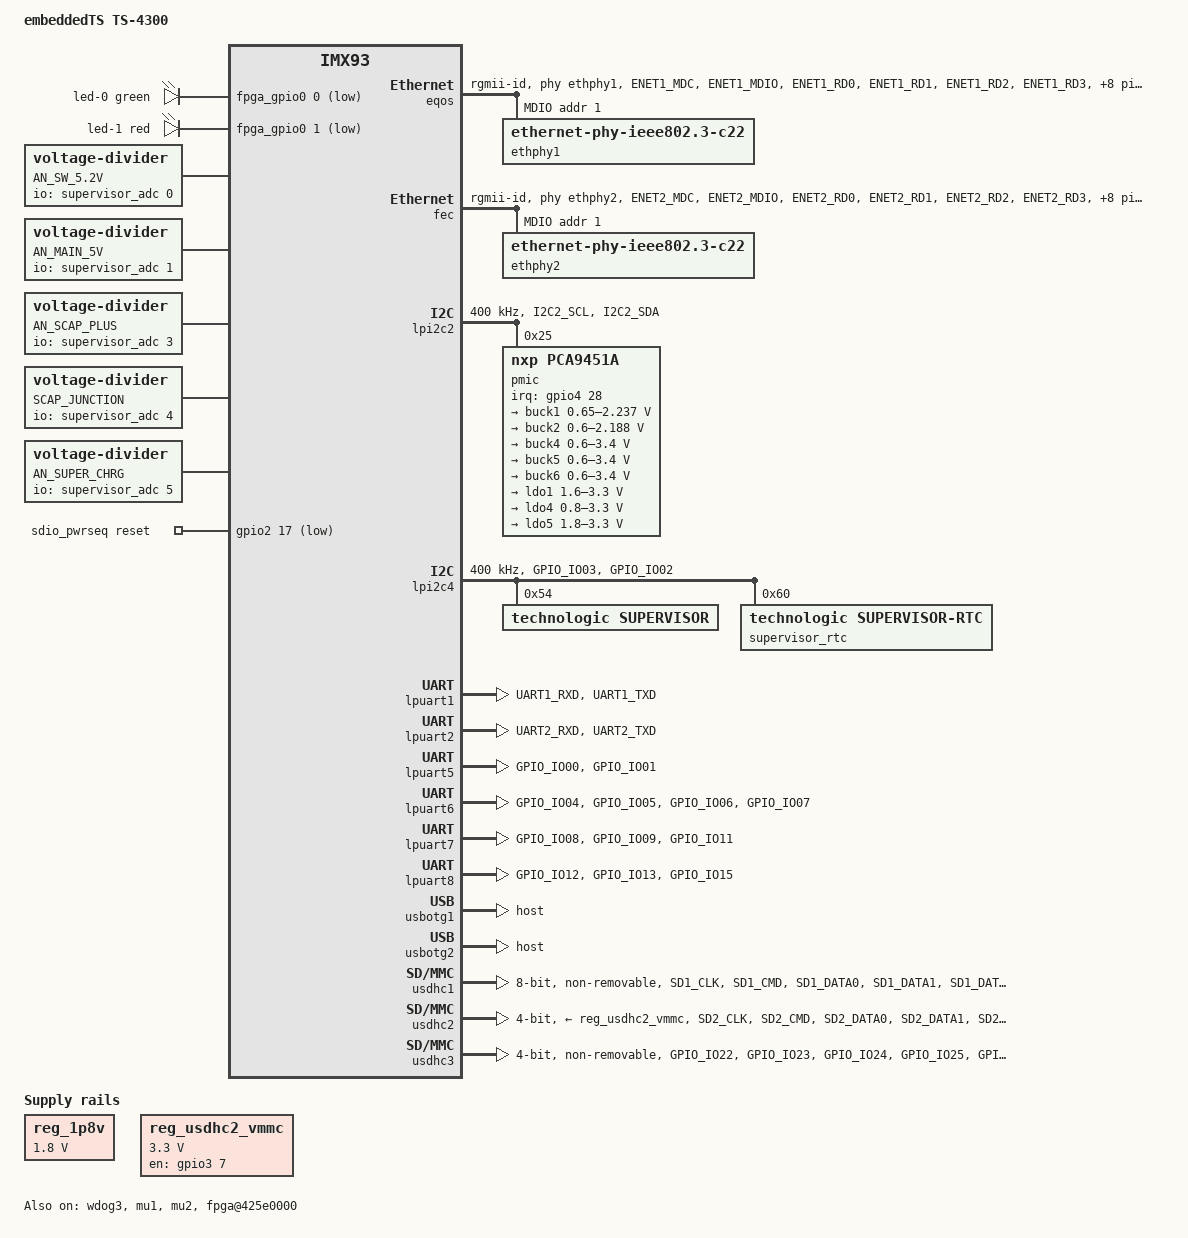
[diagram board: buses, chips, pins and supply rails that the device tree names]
// SPDX-License-Identifier: (GPL-2.0+ OR MIT)
/*
 * Copyright 2023-2024 Technologic Systems, Inc. (dba embeddedTS)
 */

#include <dt-bindings/leds/common.h>
#include "imx93.dtsi"

/ {
	model = "embeddedTS TS-4300";
	compatible = "technologic,ts4300", "fsl,imx93";

	chosen {
		bootargs = "console=ttyLP0,115200";
		stdout-path = &lpuart1;
	};

	aliases {
		gpio4 = &fpga_gpio0;
		gpio5 = &fpga_gpio1;
		gpio6 = &fpga_gpio2;
		gpio7 = &fpga_gpio3;
	};

	reserved-memory {
		#address-cells = <2>;
		#size-cells = <2>;
		ranges;

		linux,cma {
			compatible = "shared-dma-pool";
			reusable;
			alloc-ranges = <0 0x80000000 0 0x40000000>;
			size = <0 0x10000000>;
			linux,cma-default;
		};
	};

	leds {
		compatible = "gpio-leds";

		led-0 {
			color = <LED_COLOR_ID_GREEN>;
			function = LED_FUNCTION_INDICATOR;
			gpios = <&fpga_gpio0 0 GPIO_ACTIVE_LOW>;
			default-state = "on";
		};

		led-1 {
			color = <LED_COLOR_ID_RED>;
			function = LED_FUNCTION_INDICATOR;
			gpios = <&fpga_gpio0 1 GPIO_ACTIVE_LOW>;
			default-state = "off";
		};
	};

	reg_1p8v: regulator-1p8v {
		compatible = "regulator-fixed";
		regulator-name = "VDD_1V8";
		regulator-min-microvolt = <1800000>;
		regulator-max-microvolt = <1800000>;
		regulator-boot-on;
		regulator-always-on;
	};

	reg_usdhc2_vmmc: regulator-usdhc2 {
		compatible = "regulator-fixed";
		pinctrl-names = "default";
		pinctrl-0 = <&pinctrl_reg_usdhc2_vmmc>;
		regulator-name = "VSD_3V3";
		regulator-min-microvolt = <3300000>;
		regulator-max-microvolt = <3300000>;
		gpio = <&gpio3 7 GPIO_ACTIVE_HIGH>;
		off-on-delay-us = <12000>;
		enable-active-high;
	};

	an_5p2va: an-5p2va {
		compatible = "voltage-divider";
		io-channels = <&supervisor_adc 0>;
		label = "AN_SW_5.2V";
		output-ohms = <75000>; /* R2: 75k */
		full-ohms = <150000>;  /* R1 (75k) + R2 (75k) */
		#io-channel-cells = <0>;
	};

	an_main_5v: an-main-5v {
		compatible = "voltage-divider";
		io-channels = <&supervisor_adc 1>;
		label = "AN_MAIN_5V";
		output-ohms = <100000>; /* R2: 100k */
		full-ohms = <200000>;  /* R1 (100k) + R2 (100k) */
		#io-channel-cells = <0>;
	};

	an_scap_plus: an-scap-plus {
		compatible = "voltage-divider";
		io-channels = <&supervisor_adc 3>;
		label = "AN_SCAP_PLUS";
		output-ohms = <100000>; /* R2: 100k */
		full-ohms = <200000>;  /* R1 (100k) + R2 (100k) */
		#io-channel-cells = <0>;
	};

	an_scap_junction: an-scap-junction {
		compatible = "voltage-divider";
		io-channels = <&supervisor_adc 4>;
		label = "SCAP_JUNCTION";
		output-ohms = <1>;  /* direct mV (<3.3V) after 12-bit scaling */
		full-ohms = <1>;
		#io-channel-cells = <0>;
	};

	an_vchrg: an-vchrg {
		compatible = "voltage-divider";
		io-channels = <&supervisor_adc 5>;
		label = "AN_SUPER_CHRG";
		output-ohms = <100000>; /* R2: 100k */
		full-ohms = <200000>;  /* R1 (100k) + R2 (100k) */
		#io-channel-cells = <0>;
	};

	sdio_pwrseq: sdio-pwrseq {
		compatible = "mmc-pwrseq-simple";
		pinctrl-names = "default";
		pinctrl-0 = <&pinctrl_wifi_pwr>;
		reset-gpios = <&gpio2 17 GPIO_ACTIVE_LOW>;
	};
};

&aips2 {
	fpga@425e0000 {
		#address-cells = <1>;
		#size-cells = <1>;
		compatible = "nxp,imx93-fspi", "nxp,imx8mm-fspi";
		reg = <0x425e0000 0x10000>, <0x28000000 0x10000000>;
		reg-names = "fspi_base", "fspi_mmap";
		interrupts = <GIC_SPI 55 IRQ_TYPE_LEVEL_HIGH>;
		clocks = <&clk IMX93_CLK_FLEXSPI1_GATE>,
		<&clk IMX93_CLK_FLEXSPI1_GATE>;
		clock-names = "fspi", "fspi_en";
		assigned-clocks = <&clk IMX93_CLK_FLEXSPI1>;
		assigned-clock-parents = <&clk IMX93_CLK_SYS_PLL_PFD1>;
		pinctrl-names = "default";
		pinctrl-0 = <&pinctrl_flexspi>;
		nxp,ahb-clk-rate = <66666666>;
		nxp,ahb-bus-only;
		nxp,fspi-individual-mode;
		ranges = <0 0x28000000 0x10000000>;

		status = "okay";

		fpga_gpio0: gpio@28000040 {
			compatible = "technologic,ts7820-gpio";
			reg = <0x40 0x40>;
			gpio-controller;
			#gpio-cells = <2>;
		};

		fpga_gpio1: gpio@28000080 {
			compatible = "technologic,ts7820-gpio";
			reg = <0x80 0x40>;
			gpio-controller;
			#gpio-cells = <2>;
		};

		fpga_gpio2: gpio@280000c0 {
			compatible = "technologic,ts7820-gpio";
			reg = <0xC0 0x40>;
			gpio-controller;
			#gpio-cells = <2>;
		};

		fpga_gpio3: gpio@28000100 {
			compatible = "technologic,ts7820-gpio";
			reg = <0x100 0x40>;
			gpio-controller;
			#gpio-cells = <2>;
		};
	};
};

&bbnsm_rtc {
	status = "disabled";
};

&eqos {
	pinctrl-names = "default";
	pinctrl-0 = <&pinctrl_eqos>;
	phy-mode = "rgmii-id";
	phy-handle = <&ethphy1>;
	status = "okay";

	mdio {
		compatible = "snps,dwmac-mdio";
		#address-cells = <1>;
		#size-cells = <0>;
		clock-frequency = <5000000>;

		ethphy1: ethernet-phy@1 {
			compatible = "ethernet-phy-ieee802.3-c22";
			reg = <1>;
			eee-broken-1000t;
		};
	};
};

&fec {
	pinctrl-names = "default";
	pinctrl-0 = <&pinctrl_fec>;
	phy-mode = "rgmii-id";
	phy-handle = <&ethphy2>;
	fsl,magic-packet;
	status = "okay";

	mdio {
		#address-cells = <1>;
		#size-cells = <0>;
		clock-frequency = <5000000>;

		ethphy2: ethernet-phy@2 {
			compatible = "ethernet-phy-ieee802.3-c22";
			reg = <1>;
			eee-broken-1000t;
		};
	};
};

&flexcan1 {
	pinctrl-names = "default";
	pinctrl-0 = <&pinctrl_flexcan1>;
	status = "disabled";
};

&flexcan2 {
	pinctrl-names = "default";
	pinctrl-0 = <&pinctrl_flexcan2>;
	status = "disabled";
};

&lcdif {
	status = "disabled";
	assigned-clock-rates = <484000000>, <121000000>, <400000000>, <133333333>;
};

&lpi2c1 {
	#address-cells = <1>;
	#size-cells = <0>;
	clock-frequency = <400000>;
	pinctrl-names = "default", "sleep";
	pinctrl-0 = <&pinctrl_lpi2c1>;
	pinctrl-1 = <&pinctrl_lpi2c1>;
	status = "disabled";
};

&lpi2c2 {
	#address-cells = <1>;
	#size-cells = <0>;
	clock-frequency = <400000>;
	pinctrl-names = "default", "sleep";
	pinctrl-0 = <&pinctrl_lpi2c2>;
	pinctrl-1 = <&pinctrl_lpi2c2>;
	status = "okay";

	pmic@25 {
		compatible = "nxp,pca9451a";
		reg = <0x25>;
		pinctrl-names = "default";
		pinctrl-0 = <&pinctrl_pmic>;
		interrupt-parent = <&gpio4>;
		interrupts = <28 IRQ_TYPE_LEVEL_LOW>;

		regulators {
			buck1: BUCK1 {
				regulator-name = "BUCK1";
				regulator-min-microvolt = <650000>;
				regulator-max-microvolt = <2237500>;
				regulator-boot-on;
				regulator-always-on;
				regulator-ramp-delay = <3125>;
			};

			buck2: BUCK2 {
				regulator-name = "BUCK2";
				regulator-min-microvolt = <600000>;
				regulator-max-microvolt = <2187500>;
				regulator-boot-on;
				regulator-always-on;
				regulator-ramp-delay = <3125>;
			};

			buck4: BUCK4 {
				regulator-name = "BUCK4";
				regulator-min-microvolt = <600000>;
				regulator-max-microvolt = <3400000>;
				regulator-boot-on;
				regulator-always-on;
			};

			buck5: BUCK5 {
				regulator-name = "BUCK5";
				regulator-min-microvolt = <600000>;
				regulator-max-microvolt = <3400000>;
				regulator-boot-on;
				regulator-always-on;
			};

			buck6: BUCK6 {
				regulator-name = "BUCK6";
				regulator-min-microvolt = <600000>;
				regulator-max-microvolt = <3400000>;
				regulator-boot-on;
				regulator-always-on;
			};

			ldo1: LDO1 {
				regulator-name = "LDO1";
				regulator-min-microvolt = <1600000>;
				regulator-max-microvolt = <3300000>;
				regulator-boot-on;
				regulator-always-on;
			};

			ldo4: LDO4 {
				regulator-name = "LDO4";
				regulator-min-microvolt = <800000>;
				regulator-max-microvolt = <3300000>;
				regulator-boot-on;
				regulator-always-on;
			};

			ldo5: LDO5 {
				regulator-name = "LDO5";
				regulator-min-microvolt = <1800000>;
				regulator-max-microvolt = <3300000>;
				regulator-boot-on;
				regulator-always-on;
			};
		};
	};
};

&lpi2c4 {
	#address-cells = <1>;
	#size-cells = <0>;
	clock-frequency = <400000>;
	pinctrl-names = "default", "sleep";
	pinctrl-0 = <&pinctrl_lpi2c4>;
	pinctrl-1 = <&pinctrl_lpi2c4>;
	status = "okay";

	/* Wizard multi-function device (MFD) */
	supervisor: supervisor@54 {
		compatible = "technologic,supervisor";
		reg = <0x54>;

		supervisor_adc: supervisor_adc {
			compatible = "technologic,supervisor-adc";
			#io-channel-cells = <1>;
		};

		supervisor_temp: supervisor_temp {
			compatible = "technologic,supervisor-temp";
			#io-channel-cells = <0>;
		};
	};

	supervisor_rtc: rtc@60 {
		compatible = "technologic,supervisor-rtc";
		reg = <0x60>;
		wakeup-source;
	};
};

&lpspi4 {
	num-cs = <1>;
	pinctrl-names = "default";
	pinctrl-0 = <&pinctrl_lpspi4>;
	status = "disabled";
};

&lpuart1 {
	pinctrl-names = "default";
	pinctrl-0 = <&pinctrl_uart1>;
	status = "okay";
};

&lpuart2 {
	pinctrl-names = "default";
	pinctrl-0 = <&pinctrl_uart2>;
	status = "okay";
};

&lpuart5 {
	pinctrl-names = "default";
	pinctrl-0 = <&pinctrl_uart5>;
	status = "okay";
};

&lpuart6 {
	pinctrl-names = "default";
	pinctrl-0 = <&pinctrl_uart6>;
	uart-has-rtscts;
	status = "okay";
};

&lpuart7 {
	pinctrl-names = "default";
	pinctrl-0 = <&pinctrl_uart7>;
	status = "okay";
};

&lpuart8 {
	pinctrl-names = "default";
	pinctrl-0 = <&pinctrl_uart8>;
	status = "okay";
};

&usbotg1 {
	dr_mode = "host";
	status = "okay";
};

&usbotg2 {
	#address-cells = <1>;
	#size-cells = <0>;
	dr_mode = "host";
	status = "okay";
};

/* eMMC */
&usdhc1 {
	pinctrl-names = "default", "state_100mhz", "state_200mhz";
	pinctrl-0 = <&pinctrl_usdhc1>;
	pinctrl-1 = <&pinctrl_usdhc1>;
	pinctrl-2 = <&pinctrl_usdhc1>;
	bus-width = <8>;
	non-removable;
	status = "okay";
};

/* microSD */
&usdhc2 {
	pinctrl-names = "default", "state_100mhz", "state_200mhz";
	pinctrl-0 = <&pinctrl_usdhc2>, <&pinctrl_usdhc2_gpio>;
	pinctrl-1 = <&pinctrl_usdhc2>, <&pinctrl_usdhc2_gpio>;
	pinctrl-2 = <&pinctrl_usdhc2>, <&pinctrl_usdhc2_gpio>;
	vmmc-supply = <&reg_usdhc2_vmmc>;
	bus-width = <4>;
	status = "okay";
	no-sdio;
	no-mmc;
	broken-cd;
};

/* WiFi */
&usdhc3 {
	pinctrl-names = "default", "state_100mhz", "state_200mhz";
	pinctrl-0 = <&pinctrl_usdhc3>;
	pinctrl-1 = <&pinctrl_usdhc3>;
	pinctrl-2 = <&pinctrl_usdhc3>;
	mmc-pwrseq = <&sdio_pwrseq>;
	bus-width = <4>;
	non-removable;
	fsl,sdio-async-interrupt-enabled;
	status = "okay";
};

&iomuxc {
	pinctrl-names = "default";

	pinctrl_pmic: pmicgrp {
		fsl,pins = <
			MX93_PAD_CCM_CLKO3__GPIO4_IO28			0x40000b9e
		>;
	};

	pinctrl_lpi2c1: lpi2c1grp {
		fsl,pins = <
			MX93_PAD_I2C1_SCL__LPI2C1_SCL			0x40000b9e
			MX93_PAD_I2C1_SDA__LPI2C1_SDA			0x40000b9e
		>;
	};

	pinctrl_lpi2c2: lpi2c2grp {
		fsl,pins = <
			MX93_PAD_I2C2_SCL__LPI2C2_SCL			0x40000b9e
			MX93_PAD_I2C2_SDA__LPI2C2_SDA			0x40000b9e
		>;
	};

	pinctrl_lpi2c4: lpi2c4grp {
		fsl,pins = <
			MX93_PAD_GPIO_IO03__LPI2C4_SCL			0x40000b9e
			MX93_PAD_GPIO_IO02__LPI2C4_SDA			0x40000b9e
		>;
	};

	pinctrl_eqos: eqosgrp {
		fsl,pins = <
			MX93_PAD_ENET1_MDC__ENET_QOS_MDC			0x57e
			MX93_PAD_ENET1_MDIO__ENET_QOS_MDIO			0x57e
			MX93_PAD_ENET1_RD0__ENET_QOS_RGMII_RD0			0x57e
			MX93_PAD_ENET1_RD1__ENET_QOS_RGMII_RD1			0x57e
			MX93_PAD_ENET1_RD2__ENET_QOS_RGMII_RD2			0x57e
			MX93_PAD_ENET1_RD3__ENET_QOS_RGMII_RD3			0x57e
			MX93_PAD_ENET1_RXC__CCM_ENET_QOS_CLOCK_GENERATE_RX_CLK	0x5fe
			MX93_PAD_ENET1_RX_CTL__ENET_QOS_RGMII_RX_CTL		0x57e
			MX93_PAD_ENET1_TD0__ENET_QOS_RGMII_TD0			0x57e
			MX93_PAD_ENET1_TD1__ENET_QOS_RGMII_TD1			0x57e
			MX93_PAD_ENET1_TD2__ENET_QOS_RGMII_TD2			0x57e
			MX93_PAD_ENET1_TD3__ENET_QOS_RGMII_TD3			0x57e
			MX93_PAD_ENET1_TXC__CCM_ENET_QOS_CLOCK_GENERATE_TX_CLK	0x5fe
			MX93_PAD_ENET1_TX_CTL__ENET_QOS_RGMII_TX_CTL		0x57e
		>;
	};

	pinctrl_flexcan1: flexcan1grp {
		fsl,pins = <
			MX93_PAD_PDM_CLK__CAN1_TX       	0x139e
			MX93_PAD_PDM_BIT_STREAM0__CAN1_RX	0x139e
		>;
	};

	pinctrl_flexcan2: flexcan2grp {
		fsl,pins = <
			MX93_PAD_DAP_TDI__CAN2_TX       	0x139e
			MX93_PAD_DAP_TDO_TRACESWO__CAN2_RX	0x139e
		>;
	};

	pinctrl_flexspi: flexspigrp {
		fsl,pins = <
			MX93_PAD_SD3_CMD__FLEXSPI1_A_SS0_B      0x42
			MX93_PAD_SD3_CLK__FLEXSPI1_A_SCLK       0x42
			MX93_PAD_SD3_DATA0__FLEXSPI1_A_DATA00   0x42
			MX93_PAD_SD3_DATA1__FLEXSPI1_A_DATA01   0x42
			MX93_PAD_SD3_DATA2__FLEXSPI1_A_DATA02   0x42
			MX93_PAD_SD3_DATA3__FLEXSPI1_A_DATA03   0x42
		>;
	};

	pinctrl_fec: fecgrp {
		fsl,pins = <
			MX93_PAD_ENET2_MDC__ENET1_MDC			0x57e
			MX93_PAD_ENET2_MDIO__ENET1_MDIO			0x57e
			MX93_PAD_ENET2_RD0__ENET1_RGMII_RD0		0x57e
			MX93_PAD_ENET2_RD1__ENET1_RGMII_RD1		0x57e
			MX93_PAD_ENET2_RD2__ENET1_RGMII_RD2		0x57e
			MX93_PAD_ENET2_RD3__ENET1_RGMII_RD3		0x57e
			MX93_PAD_ENET2_RXC__ENET1_RGMII_RXC		0x5fe
			MX93_PAD_ENET2_RX_CTL__ENET1_RGMII_RX_CTL	0x57e
			MX93_PAD_ENET2_TD0__ENET1_RGMII_TD0		0x57e
			MX93_PAD_ENET2_TD1__ENET1_RGMII_TD1		0x57e
			MX93_PAD_ENET2_TD2__ENET1_RGMII_TD2		0x57e
			MX93_PAD_ENET2_TD3__ENET1_RGMII_TD3		0x57e
			MX93_PAD_ENET2_TXC__ENET1_RGMII_TXC		0x5fe
			MX93_PAD_ENET2_TX_CTL__ENET1_RGMII_TX_CTL	0x57e
		>;
	};

	pinctrl_lpspi4: spi4grp {
		fsl,pins = <
			MX93_PAD_GPIO_IO21__LPSPI4_SCK		0x3fe
			MX93_PAD_GPIO_IO20__LPSPI4_SOUT		0x3fe
			MX93_PAD_GPIO_IO19__LPSPI4_SIN		0x3fe
			MX93_PAD_GPIO_IO18__LPSPI4_PCS0		0x3fe
		>;
	};

	pinctrl_uart1: uart1grp {
		fsl,pins = <
			MX93_PAD_UART1_RXD__LPUART1_RX			0x31e
			MX93_PAD_UART1_TXD__LPUART1_TX			0x31e
		>;
	};

	pinctrl_uart2: uart2grp {
		fsl,pins = <
			MX93_PAD_UART2_RXD__LPUART2_RX			0x31e
			MX93_PAD_UART2_TXD__LPUART2_TX			0x31e
		>;
	};

	pinctrl_uart5: uart5grp {
		fsl,pins = <
			MX93_PAD_GPIO_IO00__LPUART5_TX			0x31e
			MX93_PAD_GPIO_IO01__LPUART5_RX			0x31e
		>;
	};

	pinctrl_uart6: uart6grp {
		fsl,pins = <
			MX93_PAD_GPIO_IO04__LPUART6_TX			0x31e
			MX93_PAD_GPIO_IO05__LPUART6_RX			0x31e
			MX93_PAD_GPIO_IO06__LPUART6_CTS_B		0x31e
			MX93_PAD_GPIO_IO07__LPUART6_RTS_B		0x31e
		>;
	};

	pinctrl_uart7: uart7grp {
		fsl,pins = <
			MX93_PAD_GPIO_IO08__LPUART7_TX			0x31e
			MX93_PAD_GPIO_IO09__LPUART7_RX			0x31e
			MX93_PAD_GPIO_IO11__LPUART7_RTS_B		0x51e /* TXEN */
		>;
	};

	pinctrl_uart8: uart8grp {
		fsl,pins = <
			MX93_PAD_GPIO_IO12__LPUART8_TX			0x31e
			MX93_PAD_GPIO_IO13__LPUART8_RX			0x31e
			MX93_PAD_GPIO_IO15__LPUART8_RTS_B		0x51e /* TXEN */
		>;
	};

	pinctrl_usdhc1: usdhc1grp {
		fsl,pins = <
			MX93_PAD_SD1_CLK__USDHC1_CLK		0x15fe
			MX93_PAD_SD1_CMD__USDHC1_CMD		0x13fe
			MX93_PAD_SD1_DATA0__USDHC1_DATA0	0x13fe
			MX93_PAD_SD1_DATA1__USDHC1_DATA1	0x13fe
			MX93_PAD_SD1_DATA2__USDHC1_DATA2	0x13fe
			MX93_PAD_SD1_DATA3__USDHC1_DATA3	0x13fe
			MX93_PAD_SD1_DATA4__USDHC1_DATA4	0x13fe
			MX93_PAD_SD1_DATA5__USDHC1_DATA5	0x13fe
			MX93_PAD_SD1_DATA6__USDHC1_DATA6	0x13fe
			MX93_PAD_SD1_DATA7__USDHC1_DATA7	0x13fe
			MX93_PAD_SD1_STROBE__USDHC1_STROBE	0x15fe
		>;
	};

	pinctrl_usdhc3: usdhc3grp {
		fsl,pins = <
			MX93_PAD_GPIO_IO22__USDHC3_CLK		0x15fe
			MX93_PAD_GPIO_IO23__USDHC3_CMD		0x13fe
			MX93_PAD_GPIO_IO24__USDHC3_DATA0	0x13fe
			MX93_PAD_GPIO_IO25__USDHC3_DATA1	0x13fe
			MX93_PAD_GPIO_IO26__USDHC3_DATA2	0x13fe
			MX93_PAD_GPIO_IO27__USDHC3_DATA3	0x13fe
		>;
	};

	pinctrl_reg_usdhc2_vmmc: regusdhc2vmmcgrp {
		fsl,pins = <
			MX93_PAD_SD2_RESET_B__GPIO3_IO07	0x31e
		>;
	};

	pinctrl_usdhc2_gpio: usdhc2gpiogrp {
		fsl,pins = <
			MX93_PAD_SD2_CD_B__GPIO3_IO00		0x31e
		>;
	};

	pinctrl_usdhc2: usdhc2grp {
		fsl,pins = <
			MX93_PAD_SD2_CLK__USDHC2_CLK		0x15fe
			MX93_PAD_SD2_CMD__USDHC2_CMD		0x13fe
			MX93_PAD_SD2_DATA0__USDHC2_DATA0	0x13fe
			MX93_PAD_SD2_DATA1__USDHC2_DATA1	0x13fe
			MX93_PAD_SD2_DATA2__USDHC2_DATA2	0x13fe
			MX93_PAD_SD2_DATA3__USDHC2_DATA3	0x13fe
			MX93_PAD_SD2_VSELECT__USDHC2_VSELECT	0x51e
		>;
	};

	pinctrl_wifi_pwr: wifipwrgrp {
		fsl,pins = <
			MX93_PAD_GPIO_IO17__GPIO2_IO17		0x31e
		>;
	};

	pinctrl_wdog: wdoggrp {
		fsl,pins = <
			MX93_PAD_WDOG_ANY__WDOG1_WDOG_ANY	0x82
		>;
	};
};

&wdog3 {
	pinctrl-names = "default";
	pinctrl-0 = <&pinctrl_wdog>;
	status = "okay";
};

&mu1 {
	status = "okay";
};

&mu2 {
	status = "okay";
};

&ocotp {
	status = "disabled";
};

&bbnsm_rtc {
	status = "disabled";
};
